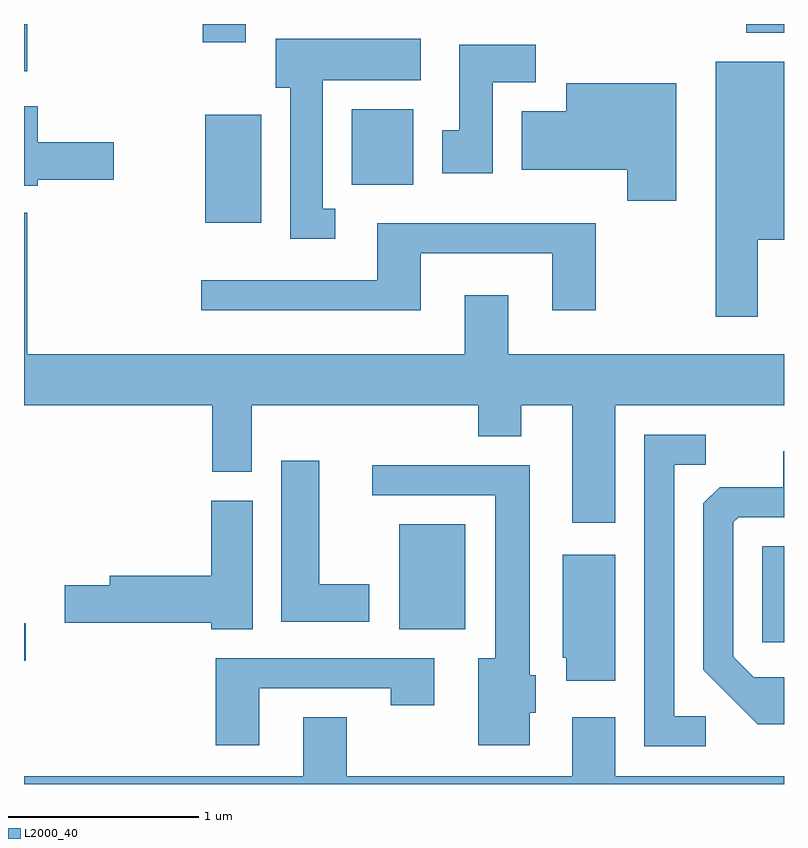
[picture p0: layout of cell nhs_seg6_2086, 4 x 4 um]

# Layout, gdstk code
import gdstk
lib = gdstk.Library(unit=1e-6, precision=1e-09)
def R(c, l, rs):  # rectangles x0, y0, x1, y1
    for r in rs: c.add(gdstk.rectangle(r[:2], r[2:], *l))
def P(c, l, *ps):  # polygons
    for p in ps: c.add(gdstk.Polygon(p, *l))
L2000_40 = (2000, 40)

nhs_seg6_2086 = lib.new_cell('nhs_seg6_2086')
R(nhs_seg6_2086, L2000_40, [(247.611,1650.811,247.619,1651.009), (251.496,1650.908,251.611,1651.414), (249.586,1650.976,249.934,1651.529), (248.566,1653.116,248.859,1653.684), (249.336,1653.316,249.659,1653.714), (247.611,1653.913,247.629,1654.162), (248.551,1654.066,248.779,1654.162), (251.411,1654.116,251.611,1654.162)])
P(nhs_seg6_2086, L2000_40, [(249.248,1653.189),(249.184,1653.189),(249.184,1653.866),(249.699,1653.866),(249.699,1654.084),(248.936,1654.084),(248.936,1653.826),(249.011,1653.826),(249.011,1653.031),(249.248,1653.031)],
  [(250.079,1653.856),(250.304,1653.856),(250.304,1654.054),(249.901,1654.054),(249.901,1653.604),(249.811,1653.604),(249.811,1653.376),(250.079,1653.376)],
  [(251.474,1653.026),(251.611,1653.026),(251.611,1653.964),(251.251,1653.964),(251.251,1652.621),(251.474,1652.621)],
  [(251.044,1653.849),(250.466,1653.849),(250.466,1653.704),(250.231,1653.704),(250.231,1653.396),(250.786,1653.396),(250.786,1653.231),(251.044,1653.231)],
  [(247.684,1653.341),(248.084,1653.341),(248.084,1653.539),(247.684,1653.539),(247.684,1653.729),(247.611,1653.729),(247.611,1653.311),(247.684,1653.311)],
  [(247.629,1653.168),(247.611,1653.168),(247.611,1652.156),(248.601,1652.156),(248.601,1651.806),(248.809,1651.806),(248.809,1652.156),(250.001,1652.156),(250.001,1651.991),(250.229,1651.991),(250.229,1652.156),(250.496,1652.156),(250.496,1651.536),(250.724,1651.536),(250.724,1652.156),(251.611,1652.156),(251.611,1652.424),(250.159,1652.424),(250.159,1652.734),(249.931,1652.734),(249.931,1652.424),(247.629,1652.424)],
  [(249.699,1652.956),(250.391,1652.956),(250.391,1652.656),(250.619,1652.656),(250.619,1653.114),(249.471,1653.114),(249.471,1652.814),(248.543,1652.814),(248.543,1652.656),(249.699,1652.656)],
  [(251.198,1650.519),(251.034,1650.519),(251.034,1651.841),(251.198,1651.841),(251.198,1651.999),(250.876,1651.999),(250.876,1650.361),(251.198,1650.361)],
  [(251.611,1650.724),(251.452,1650.724),(251.344,1650.832),(251.344,1651.539),(251.372,1651.566),(251.611,1651.566),(251.611,1651.914),(251.606,1651.914),(251.606,1651.724),(251.272,1651.724),(251.186,1651.639),(251.186,1650.764),(251.474,1650.476),(251.611,1650.476)],
  [(249.429,1651.214),(249.164,1651.214),(249.164,1651.864),(248.966,1651.864),(248.966,1651.016),(249.429,1651.016)],
  [(250.274,1650.536),(250.304,1650.536),(250.304,1650.734),(250.274,1650.734),(250.274,1651.839),(249.443,1651.839),(249.443,1651.681),(250.091,1651.681),(250.091,1650.824),(250.001,1650.824),(250.001,1650.366),(250.274,1650.366)],
  [(248.814,1651.654),(248.596,1651.654),(248.596,1651.259),(248.061,1651.259),(248.061,1651.209),(247.826,1651.209),(247.826,1651.011),(248.596,1651.011),(248.596,1650.976),(248.814,1650.976)],
  [(250.724,1651.369),(250.446,1651.369),(250.446,1650.826),(250.466,1650.826),(250.466,1650.706),(250.724,1650.706)],
  [(248.849,1650.666),(249.541,1650.666),(249.541,1650.576),(249.769,1650.576),(249.769,1650.824),(248.621,1650.824),(248.621,1650.366),(248.849,1650.366)],
  [(251.611,1650.204),(250.724,1650.204),(250.724,1650.514),(250.496,1650.514),(250.496,1650.204),(249.309,1650.204),(249.309,1650.514),(249.081,1650.514),(249.081,1650.204),(247.611,1650.204),(247.611,1650.162),(251.611,1650.162)])

lib.write_gds('nhs_seg6_2086.gds')
